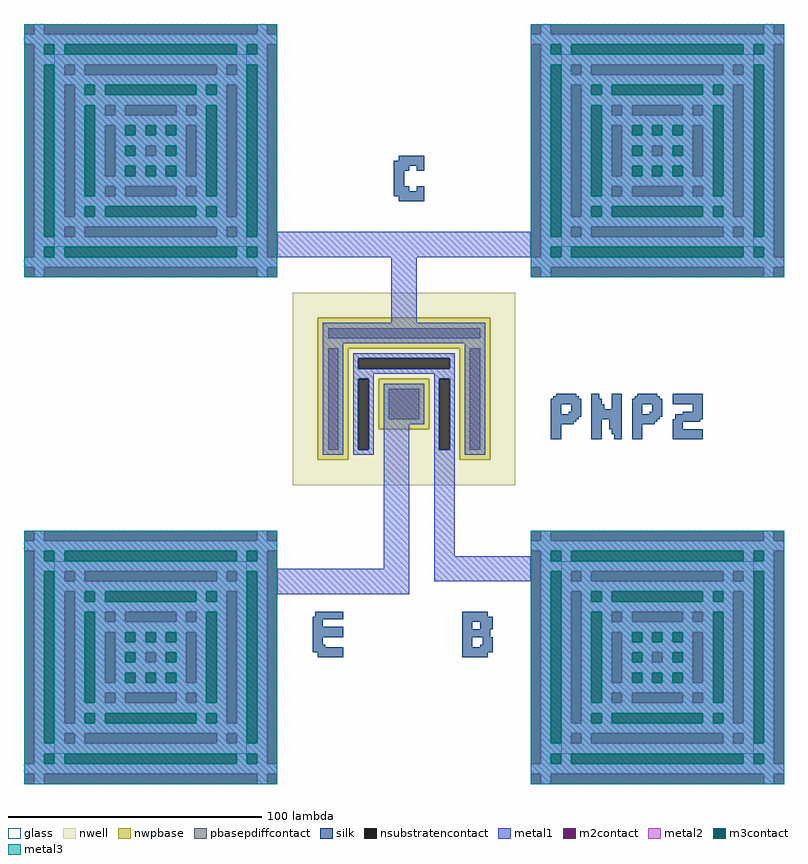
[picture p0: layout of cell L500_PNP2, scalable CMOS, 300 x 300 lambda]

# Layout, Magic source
magic
tech scmos
<< nwell >>
rect 106 184 194 194
rect 106 128 116 184
rect 128 160 172 172
rect 128 140 140 160
rect 160 140 172 160
rect 128 128 172 140
rect 184 128 194 184
rect 106 118 194 128
<< metal1 >>
rect 100 208 200 218
rect 145 182 155 208
rect 118 174 182 182
rect 118 130 126 174
rect 130 168 170 170
rect 130 164 132 168
rect 168 164 170 168
rect 130 162 170 164
rect 130 160 138 162
rect 130 132 132 160
rect 136 132 138 160
rect 162 160 170 162
rect 130 130 138 132
rect 142 142 158 158
rect 142 85 152 142
rect 100 75 152 85
rect 162 132 164 160
rect 168 132 170 160
rect 162 90 170 132
rect 174 130 182 174
rect 162 80 200 90
<< nwpbase >>
rect 116 172 184 184
rect 116 128 128 172
rect 140 140 160 160
rect 172 128 184 172
<< pbasepdiffcontact >>
rect 120 176 180 180
rect 120 132 124 172
rect 144 144 156 156
rect 176 132 180 172
<< nsubstratencontact >>
rect 132 164 168 168
rect 132 132 136 160
rect 164 132 168 160
use L500_TPAD_blank  L500_TPAD_blank_2
transform 1 0 0 0 1 200
box 0 0 100 100
use L500_CHAR_c  L500_CHAR_c_0
transform 1 0 146 0 1 230
box 0 0 12 18
use L500_TPAD_blank  L500_TPAD_blank_3
transform 1 0 200 0 1 200
box 0 0 100 100
use L500_CHAR_p  L500_CHAR_p_0
transform 1 0 208 0 1 136
box 0 0 12 18
use L500_CHAR_n  L500_CHAR_n_0
transform 1 0 224 0 1 136
box 0 0 12 18
use L500_CHAR_p  L500_CHAR_p_1
transform 1 0 240 0 1 136
box 0 0 12 18
use L500_CHAR_2  L500_CHAR_2_0
transform 1 0 256 0 1 136
box 0 0 12 18
use L500_TPAD_blank  L500_TPAD_blank_0
transform 1 0 0 0 1 0
box 0 0 100 100
use L500_CHAR_e  L500_CHAR_e_0
transform 1 0 114 0 1 50
box 0 0 12 18
use L500_CHAR_b  L500_CHAR_b_0
transform 1 0 173 0 1 50
box 0 0 12 18
use L500_TPAD_blank  L500_TPAD_blank_1
transform 1 0 200 0 1 0
box 0 0 100 100
<< end >>

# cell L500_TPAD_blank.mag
magic
tech scmos
<< metal1 >>
rect 4 96 8 100
rect 92 96 96 100
rect 0 92 100 96
rect 4 84 96 92
rect 4 80 16 84
rect 20 80 24 84
rect 76 80 80 84
rect 84 80 96 84
rect 4 76 96 80
rect 4 24 16 76
rect 20 68 80 76
rect 20 64 32 68
rect 36 64 40 68
rect 60 64 64 68
rect 68 64 80 68
rect 20 60 80 64
rect 20 40 32 60
rect 36 52 64 60
rect 36 48 48 52
rect 52 48 64 52
rect 36 40 64 48
rect 68 40 80 60
rect 20 36 80 40
rect 20 32 32 36
rect 36 32 40 36
rect 60 32 64 36
rect 68 32 80 36
rect 20 24 80 32
rect 84 24 96 76
rect 4 20 96 24
rect 4 16 16 20
rect 20 16 24 20
rect 76 16 80 20
rect 84 16 96 20
rect 4 8 96 16
rect 0 4 100 8
rect 4 0 8 4
rect 92 0 96 4
<< metal2 >>
rect 4 96 8 100
rect 92 96 96 100
rect 0 92 100 96
rect 4 88 8 92
rect 12 88 16 92
rect 84 88 88 92
rect 92 88 96 92
rect 4 84 96 88
rect 4 16 8 84
rect 12 80 16 84
rect 20 80 24 84
rect 76 80 80 84
rect 84 80 88 84
rect 12 76 88 80
rect 12 24 16 76
rect 20 72 24 76
rect 28 72 32 76
rect 68 72 72 76
rect 76 72 80 76
rect 20 68 80 72
rect 20 32 24 68
rect 28 64 32 68
rect 36 64 40 68
rect 60 64 64 68
rect 68 64 72 68
rect 28 60 72 64
rect 28 40 32 60
rect 36 56 40 60
rect 44 56 48 60
rect 52 56 56 60
rect 60 56 64 60
rect 36 52 64 56
rect 36 48 40 52
rect 44 48 48 52
rect 52 48 56 52
rect 60 48 64 52
rect 36 44 64 48
rect 36 40 40 44
rect 44 40 48 44
rect 52 40 56 44
rect 60 40 64 44
rect 68 40 72 60
rect 28 36 72 40
rect 28 32 32 36
rect 36 32 40 36
rect 60 32 64 36
rect 68 32 72 36
rect 76 32 80 68
rect 20 28 80 32
rect 20 24 24 28
rect 28 24 32 28
rect 68 24 72 28
rect 76 24 80 28
rect 84 24 88 76
rect 12 20 88 24
rect 12 16 16 20
rect 20 16 24 20
rect 76 16 80 20
rect 84 16 88 20
rect 92 16 96 84
rect 4 12 96 16
rect 4 8 8 12
rect 12 8 16 12
rect 84 8 88 12
rect 92 8 96 12
rect 0 4 100 8
rect 4 0 8 4
rect 92 0 96 4
<< metal3 >>
rect 0 92 100 100
rect 0 88 8 92
rect 12 88 16 92
rect 84 88 88 92
rect 92 88 100 92
rect 0 84 100 88
rect 0 16 8 84
rect 12 76 88 84
rect 12 72 24 76
rect 28 72 32 76
rect 68 72 72 76
rect 76 72 88 76
rect 12 68 88 72
rect 12 32 24 68
rect 28 60 72 68
rect 28 56 40 60
rect 44 56 48 60
rect 52 56 56 60
rect 60 56 72 60
rect 28 52 72 56
rect 28 48 40 52
rect 44 48 56 52
rect 60 48 72 52
rect 28 44 72 48
rect 28 40 40 44
rect 44 40 48 44
rect 52 40 56 44
rect 60 40 72 44
rect 28 32 72 40
rect 76 32 88 68
rect 12 28 88 32
rect 12 24 24 28
rect 28 24 32 28
rect 68 24 72 28
rect 76 24 88 28
rect 12 16 88 24
rect 92 16 100 84
rect 0 12 100 16
rect 0 8 8 12
rect 12 8 16 12
rect 84 8 88 12
rect 92 8 100 12
rect 0 0 100 8
<< m2contact >>
rect 0 96 4 100
rect 8 96 92 100
rect 96 96 100 100
rect 0 8 4 92
rect 16 80 20 84
rect 24 80 76 84
rect 80 80 84 84
rect 16 24 20 76
rect 32 64 36 68
rect 40 64 60 68
rect 64 64 68 68
rect 32 40 36 60
rect 48 48 52 52
rect 64 40 68 60
rect 32 32 36 36
rect 40 32 60 36
rect 64 32 68 36
rect 80 24 84 76
rect 16 16 20 20
rect 24 16 76 20
rect 80 16 84 20
rect 96 8 100 92
rect 0 0 4 4
rect 8 0 92 4
rect 96 0 100 4
<< m3contact >>
rect 8 88 12 92
rect 16 88 84 92
rect 88 88 92 92
rect 8 16 12 84
rect 24 72 28 76
rect 32 72 68 76
rect 72 72 76 76
rect 24 32 28 68
rect 40 56 44 60
rect 48 56 52 60
rect 56 56 60 60
rect 40 48 44 52
rect 56 48 60 52
rect 40 40 44 44
rect 48 40 52 44
rect 56 40 60 44
rect 72 32 76 68
rect 24 24 28 28
rect 32 24 68 28
rect 72 24 76 28
rect 88 16 92 84
rect 8 8 12 12
rect 16 8 84 12
rect 88 8 92 12
<< glass >>
rect 12 12 88 88
<< end >>

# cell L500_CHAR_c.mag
magic
tech scmos
<< silk >>
rect 2 16 12 18
rect 0 14 12 16
rect 0 12 6 14
rect 9 12 12 14
rect 0 6 4 12
rect 0 4 6 6
rect 9 4 12 6
rect 0 2 12 4
rect 2 0 12 2
<< end >>

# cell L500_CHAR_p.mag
magic
tech scmos
<< silk >>
rect 2 17 10 18
rect 1 16 11 17
rect 0 14 12 16
rect 0 10 4 14
rect 8 11 12 14
rect 7 10 12 11
rect 0 9 12 10
rect 0 8 11 9
rect 0 7 10 8
rect 0 6 9 7
rect 0 0 4 6
<< end >>

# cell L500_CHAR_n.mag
magic
tech scmos
<< silk >>
rect 0 16 3 18
rect 0 14 4 16
rect 0 12 5 14
rect 8 12 12 18
rect 0 8 12 12
rect 0 0 4 8
rect 7 4 12 8
rect 8 2 12 4
rect 9 0 12 2
<< end >>

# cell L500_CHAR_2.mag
magic
tech scmos
<< silk >>
rect 0 14 12 18
rect 8 11 12 14
rect 4 10 12 11
rect 1 8 12 10
rect 0 7 11 8
rect 0 4 4 7
rect 0 0 12 4
<< end >>

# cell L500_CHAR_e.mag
magic
tech scmos
<< silk >>
rect 1 16 12 18
rect 0 15 12 16
rect 0 12 4 15
rect 0 8 12 12
rect 0 5 4 8
rect 0 4 5 5
rect 0 2 12 4
rect 2 0 12 2
<< end >>

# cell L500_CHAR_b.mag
magic
tech scmos
<< silk >>
rect 0 16 10 18
rect 0 14 12 16
rect 0 11 4 14
rect 7 11 12 14
rect 0 8 11 11
rect 0 4 4 8
rect 8 5 12 8
rect 7 4 12 5
rect 0 2 12 4
rect 0 0 10 2
<< end >>
